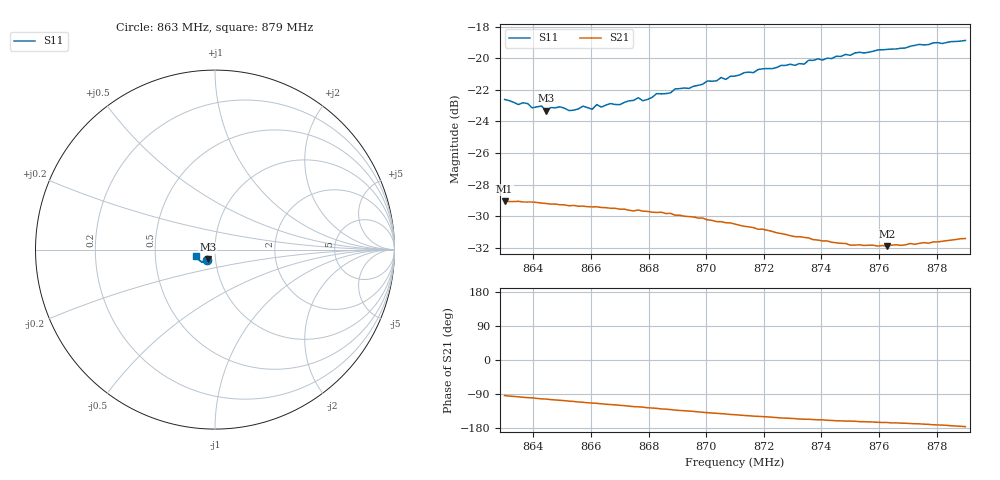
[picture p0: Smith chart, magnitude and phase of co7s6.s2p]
# HZ S RI R 50
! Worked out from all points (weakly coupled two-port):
!   101 points, 863 MHz to 879 MHz, reference 50 ohm
!   highest |S21| = -29.05 dB at 863 MHz (marker M1); lowest = -31.9 dB at 876.28 MHz (marker M2)
!   lowest |S11| = -23.3 dB at 864.44 MHz (marker M3), VSWR 1.15, Z = 45.8 - j5.02 ohm
!   |S11| at or under -10 dB: start of sweep to end of sweep
!   S12 and S22 are empty: the file has one direction only
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8.63e8  -0.0467 -0.0575  -0.00238 -0.0352  0 0  0 0
8.6348e8  -0.0439 -0.0563  -0.00436 -0.035  0 0  0 0
8.638e8  -0.0439 -0.057  -0.00572 -0.0346  0 0  0 0
8.6396e8  -0.0423 -0.0554  -0.00607 -0.0345  0 0  0 0
8.6428e8  -0.0413 -0.0573  -0.0075 -0.0339  0 0  0 0
8.6444e8  -0.0409 -0.0546  -0.0079 -0.0337  0 0  0 0
8.6492e8  -0.0414 -0.0567  -0.0097 -0.033  0 0  0 0
8.654e8  -0.0386 -0.0566  -0.0113 -0.0323  0 0  0 0
8.6572e8  -0.0391 -0.0587  -0.0125 -0.0316  0 0  0 0
8.6604e8  -0.0376 -0.0578  -0.0135 -0.031  0 0  0 0
8.662e8  -0.0391 -0.0597  -0.0139 -0.0308  0 0  0 0
8.6636e8  -0.0413 -0.0566  -0.0145 -0.0304  0 0  0 0
8.6668e8  -0.0379 -0.0611  -0.0155 -0.0297  0 0  0 0
8.67e8  -0.0374 -0.0608  -0.0165 -0.0289  0 0  0 0
8.6764e8  -0.0389 -0.0642  -0.0183 -0.0276  0 0  0 0
8.678e8  -0.0382 -0.0627  -0.0185 -0.027  0 0  0 0
8.6844e8  -0.0402 -0.0659  -0.0205 -0.0252  0 0  0 0
8.71e8  -0.0514 -0.0713  -0.0242 -0.0174  0 0  0 0
8.7372e8  -0.0692 -0.0702  -0.0245 -0.0103  0 0  0 0
8.7628e8  -0.0893 -0.0586  -0.0245 -0.00661  0 0  0 0
8.7644e8  -0.0902 -0.0577  -0.0248 -0.00622  0 0  0 0
8.79e8  -0.1075 -0.0379  -0.0268 -0.00191  0 0  0 0
